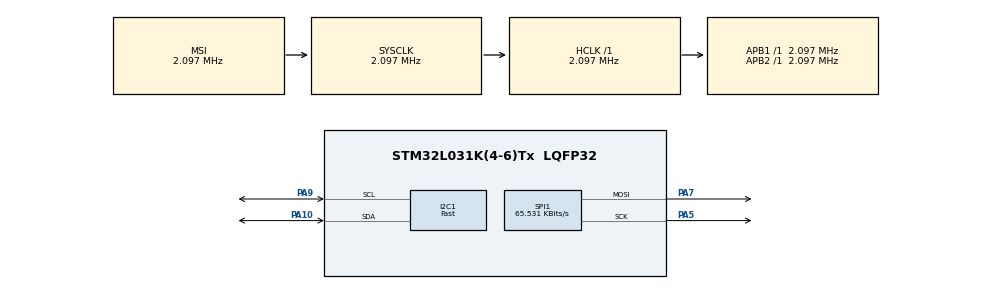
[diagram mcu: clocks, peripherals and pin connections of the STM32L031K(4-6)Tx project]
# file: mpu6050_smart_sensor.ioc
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I2C1.I2C_Speed_Mode=I2C_Fast
I2C1.Timing=0x00000000
Mcu.Family=STM32L0
Mcu.Name=STM32L031K(4-6)Tx
Mcu.Package=LQFP32
PA10.Mode=I2C
PA10.Signal=I2C1_SDA
PA5.Mode=TX_Only_Simplex_Unidirect_Master
PA5.Signal=SPI1_SCK
PA7.Mode=TX_Only_Simplex_Unidirect_Master
PA7.Signal=SPI1_MOSI
PA9.Mode=I2C
PA9.Signal=I2C1_SCL
ProjectManager.HeapSize=0x200
ProjectManager.StackSize=0x400
ProjectManager.TargetToolchain=STM32CubeIDE
RCC.AHBFreq_Value=2097000
RCC.APB1Freq_Value=2097000
RCC.APB1TimFreq_Value=2097000
RCC.APB2Freq_Value=2097000
RCC.APB2TimFreq_Value=2097000
RCC.HSE_VALUE=8000000
RCC.HSI16_VALUE=16000000
RCC.HSI_VALUE=16000000
RCC.LSE_VALUE=32768
RCC.MSI_VALUE=2097000
RCC.SYSCLKFreq_VALUE=2097000
RCC.VCOOutputFreq_Value=48000000
SPI1.BaudRatePrescaler=SPI_BAUDRATEPRESCALER_32
SPI1.CalculateBaudRate=65.531 KBits/s
SPI1.Direction=SPI_DIRECTION_2LINES
SPI1.Mode=SPI_MODE_MASTER
SPI1.VirtualType=VM_MASTER
board=custom

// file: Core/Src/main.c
#include <sys/cdefs.h>
/* USER CODE BEGIN Header */
/**
  ******************************************************************************
  * @file           : main.c
  * @brief          : Main program body
  ******************************************************************************
  * @attention
  *
  * Copyright (c) 2022 STMicroelectronics.
  * All rights reserved.
  *
  * This software is licensed under terms that can be found in the LICENSE file
  * in the root directory of this software component.
  * If no LICENSE file comes with this software, it is provided AS-IS.
  *
  ******************************************************************************
  */
/* USER CODE END Header */
#include <stdio.h>
#include <string.h>
#include <stdlib.h>
#include "main.h"

/* USER CODE BEGIN Includes */
#include "mpu6050.h"
#include <stdbool.h>
/* USER CODE END Includes */

/* USER CODE BEGIN PD */
#define TRUNCATE_JSON_CUSTOM(val, multiplier) ((int) (val * multiplier))
#define TRUNCATE_JSON(val) TRUNCATE_JSON_CUSTOM(val, 1000.)
/* USER CODE END PD */

I2C_HandleTypeDef hi2c1;

SPI_HandleTypeDef hspi1;

void SystemClock_Config(void);

static void MX_GPIO_Init(void);

static void MX_I2C1_Init(void);

static void MX_SPI1_Init(void);

/* USER CODE BEGIN 0 */
void spi_tx_json(const char *prefix, int value, bool ns) {
    char buffer[512];
    memset(buffer, 0, sizeof buffer);
    strcpy((char *) buffer, prefix);
    HAL_SPI_Transmit(&hspi1, (uint8_t *) buffer, strlen((char *) buffer), 100);

    if (!ns) {
        memset(buffer, 0, sizeof buffer);
        itoa(value, (char *) buffer, 10);
        HAL_SPI_Transmit(&hspi1, (uint8_t *) buffer, strlen((char *) buffer), 100);
    }
}
/* USER CODE END 0 */

int main(void) {
    /* USER CODE BEGIN 1 */
    MPU6050_t mpu;
    /* USER CODE END 1 */

    /* MCU Configuration--------------------------------------------------------*/

    /* Reset of all peripherals, Initializes the Flash interface and the Systick. */
    HAL_Init();

    /* Configure the system clock */
    SystemClock_Config();

    /* USER CODE BEGIN SysInit */
    GPIO_InitTypeDef gpio_tdef;
    gpio_tdef.Mode = GPIO_MODE_OUTPUT_PP;
    gpio_tdef.Pin = GPIO_PIN_12;
    gpio_tdef.Pull = GPIO_PULLDOWN;
    gpio_tdef.Speed = GPIO_SPEED_HIGH;
    HAL_GPIO_Init(GPIOA, &gpio_tdef);
    HAL_GPIO_WritePin(GPIOA, GPIO_PIN_12, GPIO_PIN_SET);
    /* USER CODE END SysInit */

    /* Initialize all configured peripherals */
    MX_GPIO_Init();
    MX_I2C1_Init();
    MX_SPI1_Init();
    /* ST go fuck yourself */
    HAL_I2C_MspInit(&hi2c1);
    HAL_SPI_MspInit(&hspi1);
    /* USER CODE BEGIN 2 */
    while (MPU6050_Init(&hi2c1) == 1) {
        /* TODO signalize error via SPI if it takes too long*/
        spi_tx_json("{\"error\":\"error\"}", 0, true);
    }
    /* USER CODE END 2 */
    /* Infinite loop */
    /* USER CODE BEGIN WHILE */
#pragma clang diagnostic push
#pragma ide diagnostic ignored "EndlessLoop"
    while (1) {
        /* USER CODE END WHILE */
        HAL_StatusTypeDef rc = MPU6050_Read_All(&hi2c1, &mpu);

        HAL_GPIO_WritePin(GPIOA, GPIO_PIN_12, GPIO_PIN_RESET);
        spi_tx_json("{\"accel\":{\"x\":", TRUNCATE_JSON(mpu.Ax), false);
        spi_tx_json(",\"y\":", TRUNCATE_JSON(mpu.Ay), false);
        spi_tx_json(",\"z\":", TRUNCATE_JSON(mpu.Az), false);
        spi_tx_json("},\"gyro\":{\"x\":", TRUNCATE_JSON(mpu.Gx), false);
        spi_tx_json(",\"y\":", TRUNCATE_JSON(mpu.Gy), false);
        spi_tx_json(",\"z\":", TRUNCATE_JSON(mpu.Gz), false);
        spi_tx_json("},\"kalman\":{\"x\":", TRUNCATE_JSON(mpu.KalmanAngleX), false);
        spi_tx_json(",\"y\":", TRUNCATE_JSON(mpu.KalmanAngleY), false);
        spi_tx_json("},\"misc\":{\"status\":", (int) rc, false);
        spi_tx_json(",\"temp\":", TRUNCATE_JSON_CUSTOM(mpu.Temperature, 10.), false);
        spi_tx_json("}}", 0, true);
        HAL_GPIO_WritePin(GPIOA, GPIO_PIN_12, GPIO_PIN_SET);

        /* TODO tx via SPI */
        /* TODO replace with something more suitable  */
        HAL_Delay(10);
        /* USER CODE BEGIN 3 */
    }
#pragma clang diagnostic pop
    /* USER CODE END 3 */
}

void SystemClock_Config(void) {
    RCC_OscInitTypeDef RCC_OscInitStruct = {0};
    RCC_ClkInitTypeDef RCC_ClkInitStruct = {0};
    RCC_PeriphCLKInitTypeDef PeriphClkInit = {0};

    /** Configure the main internal regulator output voltage
    */
    __HAL_PWR_VOLTAGESCALING_CONFIG(PWR_REGULATOR_VOLTAGE_SCALE1);

    /** Initializes the RCC Oscillators according to the specified parameters
    * in the RCC_OscInitTypeDef structure.
    */
    RCC_OscInitStruct.OscillatorType = RCC_OSCILLATORTYPE_MSI;
    RCC_OscInitStruct.MSIState = RCC_MSI_ON;
    RCC_OscInitStruct.MSICalibrationValue = 0;
    RCC_OscInitStruct.MSIClockRange = RCC_MSIRANGE_5;
    RCC_OscInitStruct.PLL.PLLState = RCC_PLL_NONE;
    if (HAL_RCC_OscConfig(&RCC_OscInitStruct) != HAL_OK) {
        Error_Handler();
    }

    /** Initializes the CPU, AHB and APB buses clocks
    */
    RCC_ClkInitStruct.ClockType = RCC_CLOCKTYPE_HCLK | RCC_CLOCKTYPE_SYSCLK
                                  | RCC_CLOCKTYPE_PCLK1 | RCC_CLOCKTYPE_PCLK2;
    RCC_ClkInitStruct.SYSCLKSource = RCC_SYSCLKSOURCE_MSI;
    RCC_ClkInitStruct.AHBCLKDivider = RCC_SYSCLK_DIV1;
    RCC_ClkInitStruct.APB1CLKDivider = RCC_HCLK_DIV1;
    RCC_ClkInitStruct.APB2CLKDivider = RCC_HCLK_DIV1;

    if (HAL_RCC_ClockConfig(&RCC_ClkInitStruct, FLASH_LATENCY_0) != HAL_OK) {
        Error_Handler();
    }
    PeriphClkInit.PeriphClockSelection = RCC_PERIPHCLK_I2C1;
    PeriphClkInit.I2c1ClockSelection = RCC_I2C1CLKSOURCE_PCLK1;
    if (HAL_RCCEx_PeriphCLKConfig(&PeriphClkInit) != HAL_OK) {
        Error_Handler();
    }
}

static void MX_I2C1_Init(void) {

    hi2c1.Instance = I2C1;
    hi2c1.Init.Timing = 0x00000000;
    hi2c1.Init.OwnAddress1 = 0;
    hi2c1.Init.AddressingMode = I2C_ADDRESSINGMODE_7BIT;
    hi2c1.Init.DualAddressMode = I2C_DUALADDRESS_DISABLE;
    hi2c1.Init.OwnAddress2 = 0;
    hi2c1.Init.OwnAddress2Masks = I2C_OA2_NOMASK;
    hi2c1.Init.GeneralCallMode = I2C_GENERALCALL_DISABLE;
    hi2c1.Init.NoStretchMode = I2C_NOSTRETCH_DISABLE;
    if (HAL_I2C_Init(&hi2c1) != HAL_OK) {
        Error_Handler();
    }

    /** Configure Analogue filter
    */
    if (HAL_I2CEx_ConfigAnalogFilter(&hi2c1, I2C_ANALOGFILTER_ENABLE) != HAL_OK) {
        Error_Handler();
    }

    /** Configure Digital filter
    */
    if (HAL_I2CEx_ConfigDigitalFilter(&hi2c1, 0) != HAL_OK) {
        Error_Handler();
    }

}

static void MX_SPI1_Init(void) {

    /* SPI1 parameter configuration*/
    hspi1.Instance = SPI1;
    hspi1.Init.Mode = SPI_MODE_MASTER;
    hspi1.Init.Direction = SPI_DIRECTION_2LINES;
    hspi1.Init.DataSize = SPI_DATASIZE_8BIT;
    hspi1.Init.CLKPolarity = SPI_POLARITY_LOW;
    hspi1.Init.CLKPhase = SPI_PHASE_1EDGE;
    hspi1.Init.NSS = SPI_NSS_HARD_OUTPUT;
    hspi1.Init.BaudRatePrescaler = SPI_BAUDRATEPRESCALER_32;
    hspi1.Init.FirstBit = SPI_FIRSTBIT_MSB;
    hspi1.Init.TIMode = SPI_TIMODE_DISABLE;
    hspi1.Init.CRCCalculation = SPI_CRCCALCULATION_DISABLE;
    hspi1.Init.CRCPolynomial = 7;
    if (HAL_SPI_Init(&hspi1) != HAL_OK) {
        Error_Handler();
    }

}

static void MX_GPIO_Init(void) {

    /* GPIO Ports Clock Enable */
    __HAL_RCC_GPIOA_CLK_ENABLE();

}

_Noreturn void Error_Handler(void) {
    __disable_irq();
    while (1) {}
}
